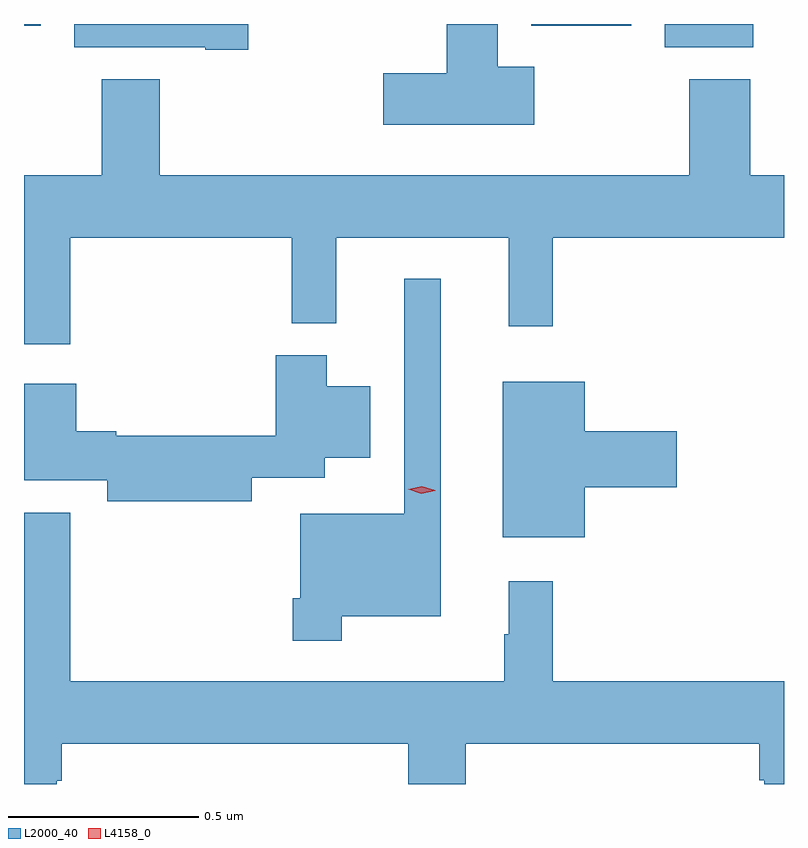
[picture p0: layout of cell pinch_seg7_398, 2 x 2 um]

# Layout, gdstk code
import gdstk
lib = gdstk.Library(unit=1e-6, precision=1e-09)
def R(c, l, rs):  # rectangles x0, y0, x1, y1
    for r in rs: c.add(gdstk.rectangle(r[:2], r[2:], *l))
def P(c, l, *ps):  # polygons
    for p in ps: c.add(gdstk.Polygon(p, *l))
L2000_40 = (2000, 40)
L4158_0 = (4158, 0)

pinch_seg7_398 = lib.new_cell('pinch_seg7_398')
R(pinch_seg7_398, L2000_40, [(487.157,1025.093,487.39,1025.154), (485.471,1025.15,485.515,1025.154), (486.806,1025.15,487.069,1025.154)])
P(pinch_seg7_398, L2000_40, [(486.814,1025.041),(486.718,1025.041),(486.718,1025.154),(486.584,1025.154),(486.584,1025.024),(486.417,1025.024),(486.417,1024.889),(486.814,1024.889)],
  [(486.061,1025.154),(485.603,1025.154),(485.603,1025.093),(485.948,1025.093),(485.948,1025.086),(486.061,1025.086)],
  [(485.593,1024.592),(486.175,1024.592),(486.175,1024.367),(486.293,1024.367),(486.293,1024.592),(486.746,1024.592),(486.746,1024.359),(486.863,1024.359),(486.863,1024.592),(487.471,1024.592),(487.471,1024.756),(487.382,1024.756),(487.382,1025.008),(487.222,1025.008),(487.222,1024.756),(485.828,1024.756),(485.828,1025.008),(485.675,1025.008),(485.675,1024.756),(485.471,1024.756),(485.471,1024.311),(485.593,1024.311)],
  [(486.307,1023.596),(486.568,1023.596),(486.568,1024.483),(486.471,1024.483),(486.471,1023.865),(486.198,1023.865),(486.198,1023.643),(486.178,1023.643),(486.178,1023.531),(486.307,1023.531)],
  [(486.07,1023.96),(486.262,1023.96),(486.262,1024.013),(486.382,1024.013),(486.382,1024.201),(486.268,1024.201),(486.268,1024.282),(486.134,1024.282),(486.134,1024.07),(485.714,1024.07),(485.714,1024.082),(485.608,1024.082),(485.608,1024.207),(485.471,1024.207),(485.471,1023.953),(485.69,1023.953),(485.69,1023.898),(486.07,1023.898)],
  [(486.946,1023.935),(487.189,1023.935),(487.189,1024.082),(486.946,1024.082),(486.946,1024.213),(486.731,1024.213),(486.731,1023.803),(486.946,1023.803)],
  [(485.557,1023.162),(485.57,1023.162),(485.57,1023.26),(486.482,1023.26),(486.482,1023.154),(486.634,1023.154),(486.634,1023.26),(487.406,1023.26),(487.406,1023.164),(487.419,1023.164),(487.419,1023.154),(487.471,1023.154),(487.471,1023.424),(486.863,1023.424),(486.863,1023.688),(486.746,1023.688),(486.746,1023.548),(486.735,1023.548),(486.735,1023.424),(485.593,1023.424),(485.593,1023.868),(485.471,1023.868),(485.471,1023.154),(485.557,1023.154)])
P(pinch_seg7_398, L4158_0, [(486.517,1023.918),(486.482,1023.93),(486.481,1023.93),(486.482,1023.93),(486.518,1023.938),(486.553,1023.927),(486.553,1023.927),(486.553,1023.926)])

lib.write_gds('pinch_seg7_398.gds')
